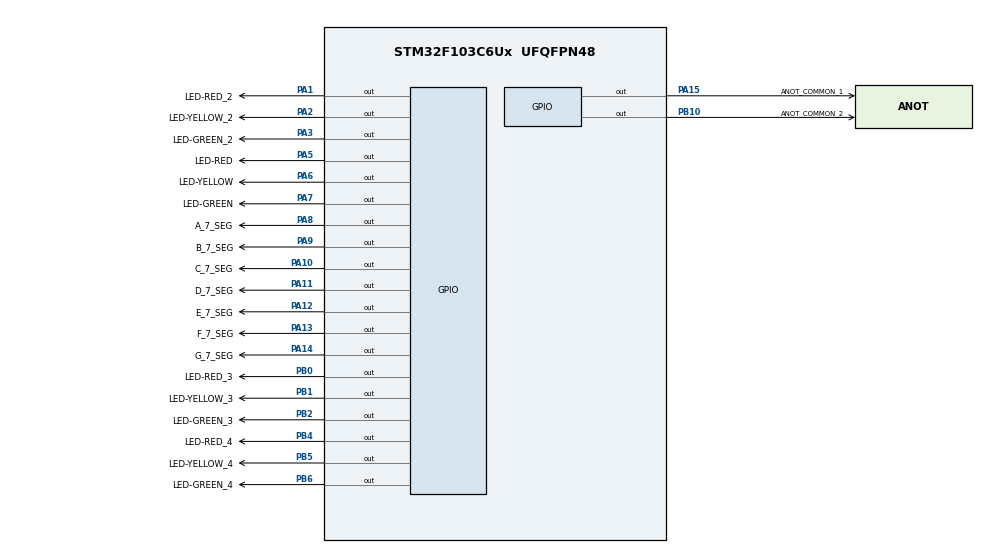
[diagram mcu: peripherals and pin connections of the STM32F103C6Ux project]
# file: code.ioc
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Mcu.Family=STM32F1
Mcu.Name=STM32F103C6Ux
Mcu.Package=UFQFPN48
NVIC.PriorityGroup=NVIC_PRIORITYGROUP_4
PA1.GPIO_Label=LED-RED_2
PA1.Signal=GPIO_Output
PA10.GPIO_Label=C_7_SEG
PA10.Signal=GPIO_Output
PA11.GPIO_Label=D_7_SEG
PA11.Signal=GPIO_Output
PA12.GPIO_Label=E_7_SEG
PA12.Signal=GPIO_Output
PA13.GPIO_Label=F_7_SEG
PA13.Signal=GPIO_Output
PA14.GPIO_Label=G_7_SEG
PA14.Signal=GPIO_Output
PA15.GPIO_Label=ANOT_COMMON_1
PA15.Signal=GPIO_Output
PA2.GPIO_Label=LED-YELLOW_2
PA2.Signal=GPIO_Output
PA3.GPIO_Label=LED-GREEN_2
PA3.Signal=GPIO_Output
PA5.GPIO_Label=LED-RED
PA5.Signal=GPIO_Output
PA6.GPIO_Label=LED-YELLOW
PA6.Signal=GPIO_Output
PA7.GPIO_Label=LED-GREEN
PA7.Signal=GPIO_Output
PA8.GPIO_Label=A_7_SEG
PA8.Signal=GPIO_Output
PA9.GPIO_Label=B_7_SEG
PA9.Signal=GPIO_Output
PB0.GPIO_Label=LED-RED_3
PB0.Signal=GPIO_Output
PB1.GPIO_Label=LED-YELLOW_3
PB1.Signal=GPIO_Output
PB10.GPIO_Label=ANOT_COMMON_2
PB10.Signal=GPIO_Output
PB2.GPIO_Label=LED-GREEN_3
PB2.Signal=GPIO_Output
PB4.GPIO_Label=LED-RED_4
PB4.Signal=GPIO_Output
PB5.GPIO_Label=LED-YELLOW_4
PB5.Signal=GPIO_Output
PB6.GPIO_Label=LED-GREEN_4
PB6.Signal=GPIO_Output
ProjectManager.HeapSize=0x200
ProjectManager.StackSize=0x400
ProjectManager.TargetToolchain=STM32CubeIDE
RCC.APB1Freq_Value=8000000
RCC.APB2Freq_Value=8000000
VP_SYS_VS_ND.Mode=No_Debug
board=custom

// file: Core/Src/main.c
/* USER CODE BEGIN Header */
/**
  ******************************************************************************
  * @file           : main.c
  * @brief          : Main program body
  ******************************************************************************
  * @attention
  *
  * <h2><center>&copy; Copyright (c) 2024 STMicroelectronics.
  * All rights reserved.</center></h2>
  *
  * This software component is licensed by ST under BSD 3-Clause license,
  * the "License"; You may not use this file except in compliance with the
  * License. You may obtain a copy of the License at:
  *                        opensource.org/licenses/BSD-3-Clause
  *
  ******************************************************************************
  */
/* USER CODE END Header */
#include "main.h"

/* USER CODE BEGIN PTD */
	typedef enum{false, true} bool;
/* USER CODE END PTD */

void SystemClock_Config(void);
static void MX_GPIO_Init(void);
/* USER CODE BEGIN PFP */
void display7SEG ( int counter);
/* USER CODE END PFP */

int main(void)
{

  /* MCU Configuration--------------------------------------------------------*/

  /* Reset of all peripherals, Initializes the Flash interface and the Systick. */
  HAL_Init();

  /* Configure the system clock */
  SystemClock_Config();

  /* Initialize all configured peripherals */
  MX_GPIO_Init();
  /* USER CODE BEGIN 2 */
  int counter = 499,  counter_2 = 299;
  bool green_state = 1, yellow_state = 1; //initial state leds of ways 0 and 4
  //initial state green, yellow led turn off
  bool red_state = 0; //for noise
  bool anot = 0;
  //turn off led yellow and led green of way 0
  HAL_GPIO_WritePin(LED_YELLOW_GPIO_Port, LED_YELLOW_Pin, GPIO_PIN_SET);
  HAL_GPIO_WritePin(LED_GREEN_GPIO_Port, LED_GREEN_Pin, GPIO_PIN_SET);

  //turn off led yellow and led green of way 4
  HAL_GPIO_WritePin(LED_YELLOW_4_GPIO_Port, LED_YELLOW_4_Pin, GPIO_PIN_SET);
  HAL_GPIO_WritePin(LED_GREEN_4_GPIO_Port, LED_GREEN_4_Pin, GPIO_PIN_SET);

  //turn off led yellow ways 2,3
  HAL_GPIO_WritePin(LED_YELLOW_2_GPIO_Port, LED_YELLOW_2_Pin, GPIO_PIN_SET);
  HAL_GPIO_WritePin(LED_YELLOW_3_GPIO_Port, LED_YELLOW_3_Pin, GPIO_PIN_SET);

  //turn off led red ways 2,3
  HAL_GPIO_WritePin(LED_RED_2_GPIO_Port, LED_RED_2_Pin, GPIO_PIN_SET);
  HAL_GPIO_WritePin(LED_RED_3_GPIO_Port, LED_RED_3_Pin, GPIO_PIN_SET);

  HAL_GPIO_WritePin(ANOT_COMMON_2_GPIO_Port, ANOT_COMMON_2_Pin, 1);
  HAL_GPIO_WritePin(ANOT_COMMON_1_GPIO_Port, ANOT_COMMON_1_Pin, 1);
  /* USER CODE END 2 */

  /* Infinite loop */
  /* USER CODE BEGIN WHILE */
  while (1)
  {
	  if(counter >499) //for noise
		  counter = 499;

	  if(counter_2 > 499) //for noise
		  counter = 499;

	  if(green_state && yellow_state && red_state)//for noise make all of leds turn off
		  red_state = 0;

	  switch(yellow_state)
	  {
	  	  case 0: // 0 meaning this led is turning off
			  if(counter > 0) //for noise
			  {
				  //turn on led red ways 2,3
				  HAL_GPIO_WritePin(LED_RED_2_GPIO_Port, LED_RED_2_Pin, GPIO_PIN_RESET);
				  HAL_GPIO_WritePin(LED_RED_3_GPIO_Port, LED_RED_3_Pin, GPIO_PIN_RESET);

				  HAL_GPIO_WritePin(LED_YELLOW_GPIO_Port, LED_YELLOW_Pin, GPIO_PIN_RESET);
				  HAL_GPIO_WritePin(LED_YELLOW_4_GPIO_Port, LED_YELLOW_4_Pin, GPIO_PIN_RESET);
			  }

			  if(counter < 1)
			  {
				  //turn off led yellow
				  HAL_GPIO_WritePin(LED_YELLOW_GPIO_Port, LED_YELLOW_Pin, GPIO_PIN_SET);
				  HAL_GPIO_WritePin(LED_YELLOW_4_GPIO_Port, LED_YELLOW_4_Pin, GPIO_PIN_SET);
				  yellow_state = 1;

				  //set counter for red
				  counter = 499;

				  //turn on led red
				  HAL_GPIO_WritePin(LED_RED_GPIO_Port, LED_RED_Pin, GPIO_PIN_RESET);
				  HAL_GPIO_WritePin(LED_RED_4_GPIO_Port, LED_RED_4_Pin, GPIO_PIN_RESET);
				  red_state = 0;

				  //turn off led red ways 2,3
				  HAL_GPIO_WritePin(LED_RED_2_GPIO_Port, LED_RED_2_Pin, GPIO_PIN_SET);
				  HAL_GPIO_WritePin(LED_RED_3_GPIO_Port, LED_RED_3_Pin, GPIO_PIN_SET);

				  //turn on led green ways 2,3
				  counter_2 = 299;
				  HAL_GPIO_WritePin(LED_GREEN_2_GPIO_Port, LED_GREEN_2_Pin, GPIO_PIN_RESET);
				  HAL_GPIO_WritePin(LED_GREEN_3_GPIO_Port, LED_GREEN_3_Pin, GPIO_PIN_RESET);
			  }
	  		  break;

	  	  default: //if turn off, switch to another ways
	  		  break;
	  }

	  switch(green_state)
	  {
	  	  case 0:

	  		  if(counter > 0) //for noise
		  {
	  			  //turn on led red ways 2,3
				  HAL_GPIO_WritePin(LED_RED_2_GPIO_Port, LED_RED_2_Pin, GPIO_PIN_RESET);
				  HAL_GPIO_WritePin(LED_RED_3_GPIO_Port, LED_RED_3_Pin, GPIO_PIN_RESET);

			  HAL_GPIO_WritePin(LED_GREEN_GPIO_Port, LED_GREEN_Pin, GPIO_PIN_RESET);
			  HAL_GPIO_WritePin(LED_GREEN_4_GPIO_Port, LED_GREEN_4_Pin, GPIO_PIN_RESET);
		  }

	  		  if(counter < 1)
		  {
			  //turn off led green
			  HAL_GPIO_WritePin(LED_GREEN_GPIO_Port, LED_GREEN_Pin, GPIO_PIN_SET);
			  HAL_GPIO_WritePin(LED_GREEN_4_GPIO_Port, LED_GREEN_4_Pin, GPIO_PIN_SET);
			  green_state = 1;

			  //set counter for yellow
			  counter = 199;

			  //turn on led yellow
			  HAL_GPIO_WritePin(LED_YELLOW_GPIO_Port, LED_YELLOW_Pin, GPIO_PIN_RESET);
			  HAL_GPIO_WritePin(LED_YELLOW_4_GPIO_Port, LED_YELLOW_4_Pin, GPIO_PIN_RESET);
			  yellow_state = 0;
		  }
	  		  break;

	  	  default:
	  		  break;
	  }

	  switch(red_state)
	  {
	  	  case 0:
	  		  if(counter > 199)
	  		  {
	  			  //turn on led green ways 2,3
				  HAL_GPIO_WritePin(LED_GREEN_2_GPIO_Port, LED_GREEN_2_Pin, GPIO_PIN_RESET);
				  HAL_GPIO_WritePin(LED_GREEN_3_GPIO_Port, LED_GREEN_3_Pin, GPIO_PIN_RESET);
	  		  }

	  		  if(counter < 200)
	  		  {
	  			  //turn off led green ways 2,3
				  HAL_GPIO_WritePin(LED_GREEN_2_GPIO_Port, LED_GREEN_2_Pin, GPIO_PIN_SET);
				  HAL_GPIO_WritePin(LED_GREEN_3_GPIO_Port, LED_GREEN_3_Pin, GPIO_PIN_SET);

	  			  //turn on led yellow ways 2,3
				  counter_2 = 199;
				  HAL_GPIO_WritePin(LED_YELLOW_2_GPIO_Port, LED_YELLOW_2_Pin, GPIO_PIN_RESET);
				  HAL_GPIO_WritePin(LED_YELLOW_3_GPIO_Port, LED_YELLOW_3_Pin, GPIO_PIN_RESET);
	  		  }

	  		  if(counter > 0) //for noise if it make turn off red led
		  {
			  HAL_GPIO_WritePin(LED_RED_GPIO_Port, LED_RED_Pin, GPIO_PIN_RESET);
			  HAL_GPIO_WritePin(LED_RED_4_GPIO_Port, LED_RED_4_Pin, GPIO_PIN_RESET);
		  }

	  		  if(counter < 1)
		  {
			  //turn off led red
			  HAL_GPIO_WritePin(LED_RED_GPIO_Port, LED_RED_Pin, GPIO_PIN_SET);
			  HAL_GPIO_WritePin(LED_RED_4_GPIO_Port, LED_RED_4_Pin, GPIO_PIN_SET);
			  red_state = 1;

			  //set counter for green
			  counter = 299;

			  //turn on led green
			  HAL_GPIO_WritePin(LED_GREEN_GPIO_Port, LED_GREEN_Pin, GPIO_PIN_RESET);
			  HAL_GPIO_WritePin(LED_GREEN_4_GPIO_Port, LED_GREEN_4_Pin, GPIO_PIN_RESET);
			  green_state = 0;

			  //turn off led yellow ways 2,3
			  HAL_GPIO_WritePin(LED_YELLOW_2_GPIO_Port, LED_YELLOW_2_Pin, GPIO_PIN_SET);
			  HAL_GPIO_WritePin(LED_YELLOW_3_GPIO_Port, LED_YELLOW_3_Pin, GPIO_PIN_SET);

			  //turn on led red ways 2,3
			  HAL_GPIO_WritePin(LED_RED_2_GPIO_Port, LED_RED_2_Pin, GPIO_PIN_RESET);
			  HAL_GPIO_WritePin(LED_RED_3_GPIO_Port, LED_RED_3_Pin, GPIO_PIN_RESET);
			  counter_2 = 499;

		  }
	  		  break;

	  	  default:
	  		  break;
	  }

/* THESE FOR INIT COUNTER = 0 AND COUNTER++ AND THEY'S USELESS AGAINST NOISE and not use red_state
	  switch(counter){
	  	  case 2:
	  		  if(yellow_state < 1) //equal 0 LED on
	  		  {
	  			  	 //turn off yellow led
	  			HAL_GPIO_WritePin(LED_YELLOW_GPIO_Port, LED_YELLOW_Pin, GPIO_PIN_SET);
	  			yellow_state = 1;
	  				//turn on green led
	  			HAL_GPIO_WritePin(LED_GREEN_GPIO_Port, LED_GREEN_Pin, GPIO_PIN_RESET);
	  			green_state = 0;
	  			//reset counter
	  			counter = 0;
	  		  }
	  		  break;
	  	  case 3:
	  		  if(green_state < 1) //equal 0 LED ON
	  		  {
	  			  //Turn off green led
	  			HAL_GPIO_WritePin(LED_GREEN_GPIO_Port, LED_GREEN_Pin, GPIO_PIN_SET);
	  			green_state = 1;
	  				//Turn on red led
	  			HAL_GPIO_WritePin(LED_RED_GPIO_Port, LED_RED_Pin, GPIO_PIN_RESET);
	  			//red_state = 1;
	  			//reset counter
	  			counter = 0;
	  		  }
	  		  break;
	  	  case 5:
	  		  //turn off red led
	  		HAL_GPIO_WritePin(LED_RED_GPIO_Port, LED_RED_Pin, GPIO_PIN_SET);
	  		//red_state = 0;
	  		//turn on yellow led
	  		HAL_GPIO_WritePin(LED_YELLOW_GPIO_Port, LED_YELLOW_Pin, GPIO_PIN_RESET);
			yellow_state = 0;
			//set counter = 0
	  		counter = 0;
	  		  break;
	  	  default:
	  		  //std::throw "change value by noise";
	  		  break;
	  }
*/
	  switch(anot)
	  {
	  	  case 0:
	  		  display7SEG(counter_2/100);
	  		  break;
	  	  default:
	  		  display7SEG(counter/100);
	  		  break;
	  }
	  HAL_GPIO_WritePin(ANOT_COMMON_2_GPIO_Port, ANOT_COMMON_2_Pin, anot);
	  anot = !anot;
	  HAL_GPIO_WritePin(ANOT_COMMON_1_GPIO_Port, ANOT_COMMON_1_Pin, anot);
	  counter_2--;
	  counter--;
	  HAL_Delay(10);

    /* USER CODE END WHILE */

  }
}

void SystemClock_Config(void)
{
  RCC_OscInitTypeDef RCC_OscInitStruct = {0};
  RCC_ClkInitTypeDef RCC_ClkInitStruct = {0};

  /** Initializes the RCC Oscillators according to the specified parameters
  * in the RCC_OscInitTypeDef structure.
  */
  RCC_OscInitStruct.OscillatorType = RCC_OSCILLATORTYPE_HSI;
  RCC_OscInitStruct.HSIState = RCC_HSI_ON;
  RCC_OscInitStruct.HSICalibrationValue = RCC_HSICALIBRATION_DEFAULT;
  RCC_OscInitStruct.PLL.PLLState = RCC_PLL_NONE;
  if (HAL_RCC_OscConfig(&RCC_OscInitStruct) != HAL_OK)
  {
    Error_Handler();
  }
  /** Initializes the CPU, AHB and APB buses clocks
  */
  RCC_ClkInitStruct.ClockType = RCC_CLOCKTYPE_HCLK|RCC_CLOCKTYPE_SYSCLK
                              |RCC_CLOCKTYPE_PCLK1|RCC_CLOCKTYPE_PCLK2;
  RCC_ClkInitStruct.SYSCLKSource = RCC_SYSCLKSOURCE_HSI;
  RCC_ClkInitStruct.AHBCLKDivider = RCC_SYSCLK_DIV1;
  RCC_ClkInitStruct.APB1CLKDivider = RCC_HCLK_DIV1;
  RCC_ClkInitStruct.APB2CLKDivider = RCC_HCLK_DIV1;

  if (HAL_RCC_ClockConfig(&RCC_ClkInitStruct, FLASH_LATENCY_0) != HAL_OK)
  {
    Error_Handler();
  }
}

static void MX_GPIO_Init(void)
{
  GPIO_InitTypeDef GPIO_InitStruct = {0};

  /* GPIO Ports Clock Enable */
  __HAL_RCC_GPIOA_CLK_ENABLE();
  __HAL_RCC_GPIOB_CLK_ENABLE();

  /*Configure GPIO pin Output Level */
  HAL_GPIO_WritePin(GPIOA, LED_RED_2_Pin|LED_YELLOW_2_Pin|LED_GREEN_2_Pin|LED_RED_Pin
                          |LED_YELLOW_Pin|LED_GREEN_Pin|A_7_SEG_Pin|B_7_SEG_Pin
                          |C_7_SEG_Pin|D_7_SEG_Pin|E_7_SEG_Pin|F_7_SEG_Pin
                          |G_7_SEG_Pin|ANOT_COMMON_1_Pin, GPIO_PIN_RESET);

  /*Configure GPIO pin Output Level */
  HAL_GPIO_WritePin(GPIOB, LED_RED_3_Pin|LED_YELLOW_3_Pin|LED_GREEN_3_Pin|ANOT_COMMON_2_Pin
                          |LED_RED_4_Pin|LED_YELLOW_4_Pin|LED_GREEN_4_Pin, GPIO_PIN_RESET);

  /*Configure GPIO pins : LED_RED_2_Pin LED_YELLOW_2_Pin LED_GREEN_2_Pin LED_RED_Pin
                           LED_YELLOW_Pin LED_GREEN_Pin A_7_SEG_Pin B_7_SEG_Pin
                           C_7_SEG_Pin D_7_SEG_Pin E_7_SEG_Pin F_7_SEG_Pin
                           G_7_SEG_Pin ANOT_COMMON_1_Pin */
  GPIO_InitStruct.Pin = LED_RED_2_Pin|LED_YELLOW_2_Pin|LED_GREEN_2_Pin|LED_RED_Pin
                          |LED_YELLOW_Pin|LED_GREEN_Pin|A_7_SEG_Pin|B_7_SEG_Pin
                          |C_7_SEG_Pin|D_7_SEG_Pin|E_7_SEG_Pin|F_7_SEG_Pin
                          |G_7_SEG_Pin|ANOT_COMMON_1_Pin;
  GPIO_InitStruct.Mode = GPIO_MODE_OUTPUT_PP;
  GPIO_InitStruct.Pull = GPIO_NOPULL;
  GPIO_InitStruct.Speed = GPIO_SPEED_FREQ_LOW;
  HAL_GPIO_Init(GPIOA, &GPIO_InitStruct);

  /*Configure GPIO pins : LED_RED_3_Pin LED_YELLOW_3_Pin LED_GREEN_3_Pin ANOT_COMMON_2_Pin
                           LED_RED_4_Pin LED_YELLOW_4_Pin LED_GREEN_4_Pin */
  GPIO_InitStruct.Pin = LED_RED_3_Pin|LED_YELLOW_3_Pin|LED_GREEN_3_Pin|ANOT_COMMON_2_Pin
                          |LED_RED_4_Pin|LED_YELLOW_4_Pin|LED_GREEN_4_Pin;
  GPIO_InitStruct.Mode = GPIO_MODE_OUTPUT_PP;
  GPIO_InitStruct.Pull = GPIO_NOPULL;
  GPIO_InitStruct.Speed = GPIO_SPEED_FREQ_LOW;
  HAL_GPIO_Init(GPIOB, &GPIO_InitStruct);

}

/* USER CODE BEGIN 4 */
	void display7SEG ( int counter)
	{
		switch(counter)
		{
			case 0:
				HAL_GPIO_WritePin(A_7_SEG_GPIO_Port, A_7_SEG_Pin, GPIO_PIN_RESET);
				HAL_GPIO_WritePin(B_7_SEG_GPIO_Port, B_7_SEG_Pin, GPIO_PIN_RESET);
				HAL_GPIO_WritePin(C_7_SEG_GPIO_Port, C_7_SEG_Pin, GPIO_PIN_RESET);
				HAL_GPIO_WritePin(D_7_SEG_GPIO_Port, D_7_SEG_Pin, GPIO_PIN_RESET);
				HAL_GPIO_WritePin(E_7_SEG_GPIO_Port, E_7_SEG_Pin, GPIO_PIN_RESET);
				HAL_GPIO_WritePin(F_7_SEG_GPIO_Port, F_7_SEG_Pin, GPIO_PIN_RESET);
				HAL_GPIO_WritePin(G_7_SEG_GPIO_Port, G_7_SEG_Pin, GPIO_PIN_SET);
				break;
			case 1:
			HAL_GPIO_WritePin(A_7_SEG_GPIO_Port, A_7_SEG_Pin, GPIO_PIN_SET);
			HAL_GPIO_WritePin(B_7_SEG_GPIO_Port, B_7_SEG_Pin, GPIO_PIN_RESET);
			HAL_GPIO_WritePin(C_7_SEG_GPIO_Port, C_7_SEG_Pin, GPIO_PIN_RESET);
			HAL_GPIO_WritePin(D_7_SEG_GPIO_Port, D_7_SEG_Pin, GPIO_PIN_SET);
			HAL_GPIO_WritePin(E_7_SEG_GPIO_Port, E_7_SEG_Pin, GPIO_PIN_SET);
			HAL_GPIO_WritePin(F_7_SEG_GPIO_Port, F_7_SEG_Pin, GPIO_PIN_SET);
			HAL_GPIO_WritePin(G_7_SEG_GPIO_Port, G_7_SEG_Pin, GPIO_PIN_SET);
				break;
			case 2:
			HAL_GPIO_WritePin(A_7_SEG_GPIO_Port, A_7_SEG_Pin, GPIO_PIN_RESET);
			HAL_GPIO_WritePin(B_7_SEG_GPIO_Port, B_7_SEG_Pin, GPIO_PIN_RESET);
			HAL_GPIO_WritePin(C_7_SEG_GPIO_Port, C_7_SEG_Pin, GPIO_PIN_SET);
			HAL_GPIO_WritePin(D_7_SEG_GPIO_Port, D_7_SEG_Pin, GPIO_PIN_RESET);
			HAL_GPIO_WritePin(E_7_SEG_GPIO_Port, E_7_SEG_Pin, GPIO_PIN_RESET);
			HAL_GPIO_WritePin(F_7_SEG_GPIO_Port, F_7_SEG_Pin, GPIO_PIN_SET);
			HAL_GPIO_WritePin(G_7_SEG_GPIO_Port, G_7_SEG_Pin, GPIO_PIN_RESET);
				break;
			case 3:
			HAL_GPIO_WritePin(A_7_SEG_GPIO_Port, A_7_SEG_Pin, GPIO_PIN_RESET);
			HAL_GPIO_WritePin(B_7_SEG_GPIO_Port, B_7_SEG_Pin, GPIO_PIN_RESET);
			HAL_GPIO_WritePin(C_7_SEG_GPIO_Port, C_7_SEG_Pin, GPIO_PIN_RESET);
			HAL_GPIO_WritePin(D_7_SEG_GPIO_Port, D_7_SEG_Pin, GPIO_PIN_RESET);
			HAL_GPIO_WritePin(E_7_SEG_GPIO_Port, E_7_SEG_Pin, GPIO_PIN_SET);
			HAL_GPIO_WritePin(F_7_SEG_GPIO_Port, F_7_SEG_Pin, GPIO_PIN_SET);
			HAL_GPIO_WritePin(G_7_SEG_GPIO_Port, G_7_SEG_Pin, GPIO_PIN_RESET);
				break;
			case 4:
			HAL_GPIO_WritePin(A_7_SEG_GPIO_Port, A_7_SEG_Pin, GPIO_PIN_SET);
			HAL_GPIO_WritePin(B_7_SEG_GPIO_Port, B_7_SEG_Pin, GPIO_PIN_RESET);
			HAL_GPIO_WritePin(C_7_SEG_GPIO_Port, C_7_SEG_Pin, GPIO_PIN_RESET);
			HAL_GPIO_WritePin(D_7_SEG_GPIO_Port, D_7_SEG_Pin, GPIO_PIN_SET);
			HAL_GPIO_WritePin(E_7_SEG_GPIO_Port, E_7_SEG_Pin, GPIO_PIN_SET);
			HAL_GPIO_WritePin(F_7_SEG_GPIO_Port, F_7_SEG_Pin, GPIO_PIN_RESET);
			HAL_GPIO_WritePin(G_7_SEG_GPIO_Port, G_7_SEG_Pin, GPIO_PIN_RESET);
				break;
			case 5:
			HAL_GPIO_WritePin(A_7_SEG_GPIO_Port, A_7_SEG_Pin, GPIO_PIN_RESET);
			HAL_GPIO_WritePin(B_7_SEG_GPIO_Port, B_7_SEG_Pin, GPIO_PIN_SET);
			HAL_GPIO_WritePin(C_7_SEG_GPIO_Port, C_7_SEG_Pin, GPIO_PIN_RESET);
			HAL_GPIO_WritePin(D_7_SEG_GPIO_Port, D_7_SEG_Pin, GPIO_PIN_RESET);
			HAL_GPIO_WritePin(E_7_SEG_GPIO_Port, E_7_SEG_Pin, GPIO_PIN_SET);
			HAL_GPIO_WritePin(F_7_SEG_GPIO_Port, F_7_SEG_Pin, GPIO_PIN_RESET);
			HAL_GPIO_WritePin(G_7_SEG_GPIO_Port, G_7_SEG_Pin, GPIO_PIN_RESET);
				break;
			case 6:
			HAL_GPIO_WritePin(A_7_SEG_GPIO_Port, A_7_SEG_Pin, GPIO_PIN_RESET);
			HAL_GPIO_WritePin(B_7_SEG_GPIO_Port, B_7_SEG_Pin, GPIO_PIN_SET);
			HAL_GPIO_WritePin(C_7_SEG_GPIO_Port, C_7_SEG_Pin, GPIO_PIN_RESET);
			HAL_GPIO_WritePin(D_7_SEG_GPIO_Port, D_7_SEG_Pin, GPIO_PIN_RESET);
			HAL_GPIO_WritePin(E_7_SEG_GPIO_Port, E_7_SEG_Pin, GPIO_PIN_RESET);
			HAL_GPIO_WritePin(F_7_SEG_GPIO_Port, F_7_SEG_Pin, GPIO_PIN_RESET);
			HAL_GPIO_WritePin(G_7_SEG_GPIO_Port, G_7_SEG_Pin, GPIO_PIN_RESET);
				break;
			case 7:
			HAL_GPIO_WritePin(A_7_SEG_GPIO_Port, A_7_SEG_Pin, GPIO_PIN_RESET);
			HAL_GPIO_WritePin(B_7_SEG_GPIO_Port, B_7_SEG_Pin, GPIO_PIN_RESET);
			HAL_GPIO_WritePin(C_7_SEG_GPIO_Port, C_7_SEG_Pin, GPIO_PIN_RESET);
			HAL_GPIO_WritePin(D_7_SEG_GPIO_Port, D_7_SEG_Pin, GPIO_PIN_SET);
			HAL_GPIO_WritePin(E_7_SEG_GPIO_Port, E_7_SEG_Pin, GPIO_PIN_SET);
			HAL_GPIO_WritePin(F_7_SEG_GPIO_Port, F_7_SEG_Pin, GPIO_PIN_SET);
			HAL_GPIO_WritePin(G_7_SEG_GPIO_Port, G_7_SEG_Pin, GPIO_PIN_SET);
				break;
			case 8:
			HAL_GPIO_WritePin(A_7_SEG_GPIO_Port, A_7_SEG_Pin, GPIO_PIN_RESET);
			HAL_GPIO_WritePin(B_7_SEG_GPIO_Port, B_7_SEG_Pin, GPIO_PIN_RESET);
			HAL_GPIO_WritePin(C_7_SEG_GPIO_Port, C_7_SEG_Pin, GPIO_PIN_RESET);
			HAL_GPIO_WritePin(D_7_SEG_GPIO_Port, D_7_SEG_Pin, GPIO_PIN_RESET);
			HAL_GPIO_WritePin(E_7_SEG_GPIO_Port, E_7_SEG_Pin, GPIO_PIN_RESET);
			HAL_GPIO_WritePin(F_7_SEG_GPIO_Port, F_7_SEG_Pin, GPIO_PIN_RESET);
			HAL_GPIO_WritePin(G_7_SEG_GPIO_Port, G_7_SEG_Pin, GPIO_PIN_RESET);
				break;
			default:
			HAL_GPIO_WritePin(A_7_SEG_GPIO_Port, A_7_SEG_Pin, GPIO_PIN_RESET);
			HAL_GPIO_WritePin(B_7_SEG_GPIO_Port, B_7_SEG_Pin, GPIO_PIN_RESET);
			HAL_GPIO_WritePin(C_7_SEG_GPIO_Port, C_7_SEG_Pin, GPIO_PIN_RESET);
			HAL_GPIO_WritePin(D_7_SEG_GPIO_Port, D_7_SEG_Pin, GPIO_PIN_RESET);
			HAL_GPIO_WritePin(E_7_SEG_GPIO_Port, E_7_SEG_Pin, GPIO_PIN_SET);
			HAL_GPIO_WritePin(F_7_SEG_GPIO_Port, F_7_SEG_Pin, GPIO_PIN_RESET);
			HAL_GPIO_WritePin(G_7_SEG_GPIO_Port, G_7_SEG_Pin, GPIO_PIN_RESET);
				break;
		}
	}
/* USER CODE END 4 */

void Error_Handler(void)
{
  __disable_irq();
  while (1)
  {
  }
}

/************************ (C) COPYRIGHT STMicroelectronics *****END OF FILE****/
